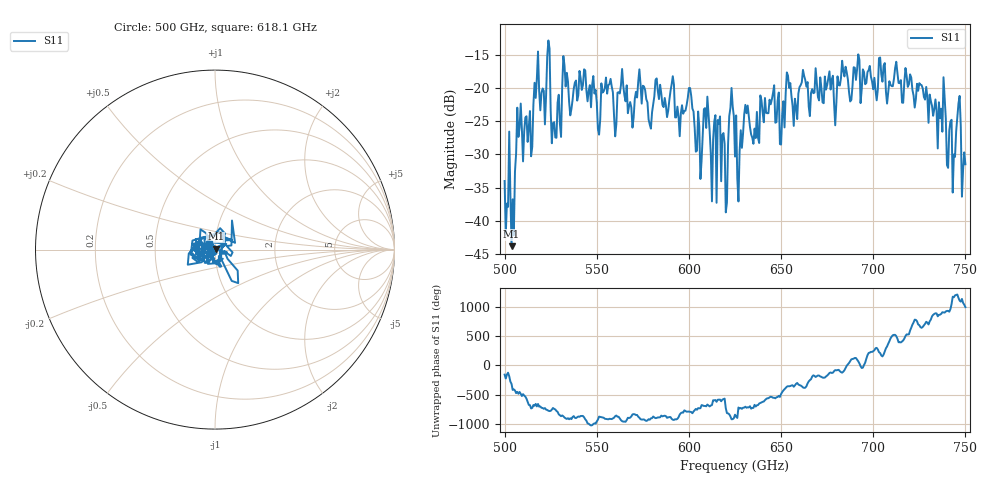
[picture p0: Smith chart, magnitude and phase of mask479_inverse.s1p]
!Created with skrf (http://scikit-rf.org).
# GHz S MA R 50.0
!freq magS11 angS11
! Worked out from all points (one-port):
!   401 points, 500 GHz to 750 GHz, reference 50 ohm
!   lowest |S11| = -43.8 dB at 503.8 GHz (marker M1), VSWR 1.01, Z = 50.5 + j0.46 ohm
!   |S11| at or under -10 dB: start of sweep to end of sweep
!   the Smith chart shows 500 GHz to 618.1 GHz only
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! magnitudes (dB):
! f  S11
! 500 GHz  -34.0
! 503.8 GHz  -43.8
! 507.5 GHz  -27.4
! 513.8 GHz  -23.5
! 517.5 GHz  -18.6
! 523.8 GHz  -12.9
! 526.9 GHz  -25.1
! 531.2 GHz  -19.8
! 562.5 GHz  -20.8
! 579.4 GHz  -26.1
! 590.6 GHz  -19.5
! 593.8 GHz  -22.8
! 600.6 GHz  -20.0
! 605.6 GHz  -25.8
! 609.4 GHz  -26.0
! 620 GHz  -38.7
! 623.1 GHz  -20.0
! 625 GHz  -30.3
! 627.5 GHz  -29.5
! 631.2 GHz  -23.8
! 635 GHz  -28.4
! 656.2 GHz  -22.7
! 687.5 GHz  -22.0
! 718.8 GHz  -19.8
! 738.1 GHz  -18.4
! 743.8 GHz  -30.0
! 746.2 GHz  -22.3
! 750 GHz  -31.5
